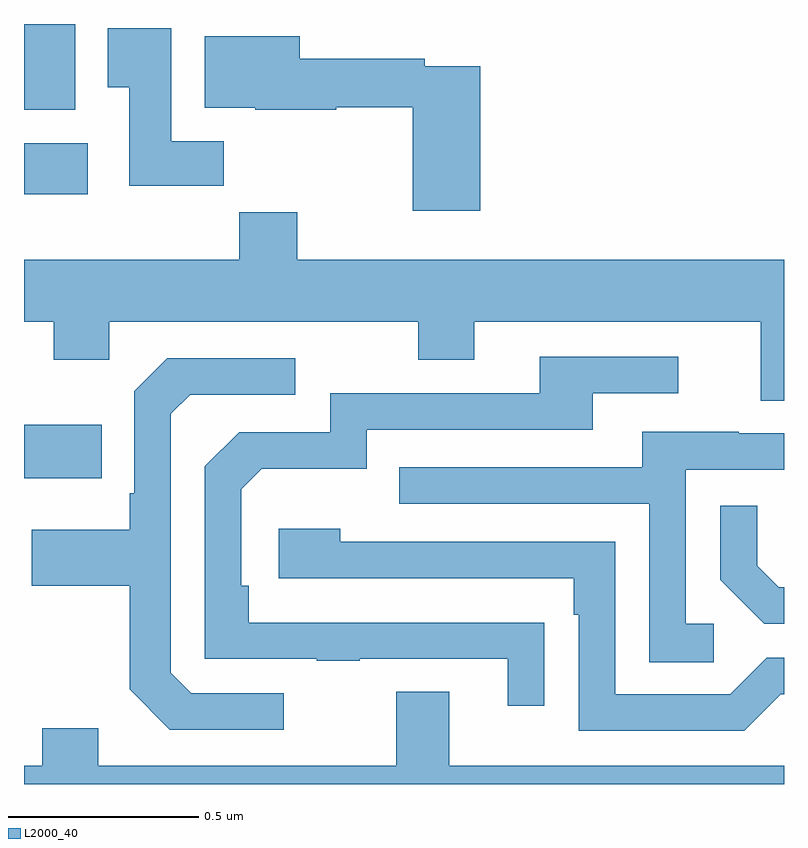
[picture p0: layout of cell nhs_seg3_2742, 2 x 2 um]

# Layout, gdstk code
import gdstk
lib = gdstk.Library(unit=1e-6, precision=1e-09)
def R(c, l, rs):  # rectangles x0, y0, x1, y1
    for r in rs: c.add(gdstk.rectangle(r[:2], r[2:], *l))
def P(c, l, *ps):  # polygons
    for p in ps: c.add(gdstk.Polygon(p, *l))
L2000_40 = (2000, 40)

nhs_seg3_2742 = lib.new_cell('nhs_seg3_2742')
R(nhs_seg3_2742, L2000_40, [(145,667.205,145.205,667.345), (145,667.952,145.168,668.086), (145,668.174,145.135,668.4)])
P(nhs_seg3_2742, L2000_40, [(145.526,668.092),(145.387,668.092),(145.387,668.389),(145.22,668.389),(145.22,668.233),(145.277,668.233),(145.277,667.974),(145.526,667.974)],
  [(146.201,668.289),(146.054,668.289),(146.054,668.309),(145.726,668.309),(145.726,668.368),(145.475,668.368),(145.475,668.18),(145.608,668.18),(145.608,668.174),(145.822,668.174),(145.822,668.181),(146.023,668.181),(146.023,667.908),(146.201,667.908)],
  [(147,667.78),(145.719,667.78),(145.719,667.904),(145.567,667.904),(145.567,667.78),(145,667.78),(145,667.616),(145.078,667.616),(145.078,667.517),(145.224,667.517),(145.224,667.616),(146.038,667.616),(146.038,667.517),(146.185,667.517),(146.185,667.616),(146.939,667.616),(146.939,667.408),(147,667.408)],
  [(146.369,666.824),(146.267,666.824),(146.267,666.825),(145.592,666.825),(145.592,666.922),(145.572,666.922),(145.572,667.176),(145.625,667.229),(145.902,667.229),(145.902,667.332),(146.497,667.332),(146.497,667.428),(146.722,667.428),(146.722,667.524),(146.357,667.524),(146.357,667.428),(145.806,667.428),(145.806,667.326),(145.566,667.326),(145.476,667.236),(145.476,666.729),(145.771,666.729),(145.771,666.724),(145.883,666.724),(145.883,666.729),(146.273,666.729),(146.273,666.606),(146.369,666.606)],
  [(145.684,666.639),(145.44,666.639),(145.386,666.693),(145.386,667.374),(145.437,667.425),(145.714,667.425),(145.714,667.521),(145.377,667.521),(145.29,667.434),(145.29,667.165),(145.278,667.165),(145.278,667.069),(145.021,667.069),(145.021,666.922),(145.278,666.922),(145.278,666.649),(145.383,666.543),(145.684,666.543)],
  [(146.815,666.822),(146.742,666.822),(146.742,667.227),(147,667.227),(147,667.323),(146.881,667.323),(146.881,667.327),(146.627,667.327),(146.627,667.233),(145.987,667.233),(145.987,667.137),(146.646,667.137),(146.646,666.721),(146.815,666.721)],
  [(147,666.918),(146.986,666.918),(146.929,666.975),(146.929,667.132),(146.832,667.132),(146.832,666.938),(146.948,666.822),(147,666.822)],
  [(146.991,666.636),(147,666.636),(147,666.732),(146.955,666.732),(146.859,666.636),(146.556,666.636),(146.556,667.038),(145.832,667.038),(145.832,667.072),(145.671,667.072),(145.671,666.942),(146.447,666.942),(146.447,666.845),(146.46,666.845),(146.46,666.54),(146.895,666.54)],
  [(147,666.448),(146.119,666.448),(146.119,666.643),(145.979,666.643),(145.979,666.448),(145.195,666.448),(145.195,666.547),(145.048,666.547),(145.048,666.448),(145,666.448),(145,666.4),(147,666.4)])

lib.write_gds('nhs_seg3_2742.gds')
